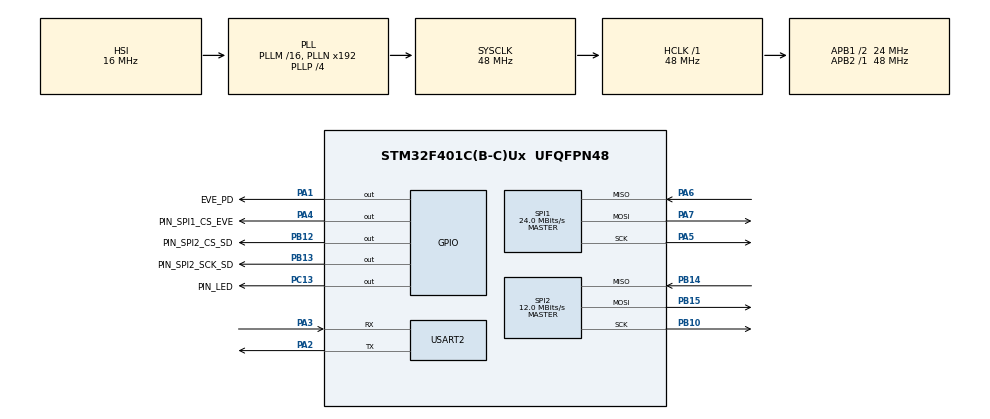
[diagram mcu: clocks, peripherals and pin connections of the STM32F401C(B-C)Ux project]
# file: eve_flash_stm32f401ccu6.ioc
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Mcu.Family=STM32F4
Mcu.Name=STM32F401C(B-C)Ux
Mcu.Package=UFQFPN48
NVIC.PriorityGroup=NVIC_PRIORITYGROUP_4
PA1.GPIO_Label=EVE_PD
PA1.Signal=GPIO_Output
PA11.Signal=USB_OTG_FS_DM
PA12.Signal=USB_OTG_FS_DP
PA2.Mode=Asynchronous
PA2.Signal=USART2_TX
PA3.Mode=Asynchronous
PA3.Signal=USART2_RX
PA4.GPIO_Label=PIN_SPI1_CS_EVE
PA4.Signal=GPIO_Output
PA5.Mode=Full_Duplex_Master
PA5.Signal=SPI1_SCK
PA6.Mode=Full_Duplex_Master
PA6.Signal=SPI1_MISO
PA7.Mode=Full_Duplex_Master
PA7.Signal=SPI1_MOSI
PA8.Signal=USB_OTG_FS_SOF
PB10.Mode=Full_Duplex_Master
PB10.Signal=SPI2_SCK
PB12.GPIO_Label=PIN_SPI2_CS_SD
PB12.Signal=GPIO_Output
PB13.GPIO_Label=PIN_SPI2_SCK_SD
PB13.Signal=GPIO_Output
PB14.Mode=Full_Duplex_Master
PB14.Signal=SPI2_MISO
PB15.Mode=Full_Duplex_Master
PB15.Signal=SPI2_MOSI
PC13-ANTI_TAMP.GPIO_Label=PIN_LED
PC13-ANTI_TAMP.Signal=GPIO_Output
ProjectManager.HeapSize=0x200
ProjectManager.StackSize=0x400
ProjectManager.TargetToolchain=STM32CubeIDE
RCC.AHBFreq_Value=48000000
RCC.APB1CLKDivider=RCC_HCLK_DIV2
RCC.APB1Freq_Value=24000000
RCC.APB1TimFreq_Value=48000000
RCC.APB2Freq_Value=48000000
RCC.APB2TimFreq_Value=48000000
RCC.CortexFreq_Value=48000000
RCC.HCLKFreq_Value=48000000
RCC.HSE_VALUE=25000000
RCC.HSI_VALUE=16000000
RCC.LSE_VALUE=32768
RCC.PLLP=RCC_PLLP_DIV4
RCC.SYSCLKFreq_VALUE=48000000
RCC.SYSCLKSource=RCC_SYSCLKSOURCE_PLLCLK
RCC.VCOOutputFreq_Value=192000000
SPI1.BaudRatePrescaler=SPI_BAUDRATEPRESCALER_2
SPI1.CalculateBaudRate=24.0 MBits/s
SPI1.Direction=SPI_DIRECTION_2LINES
SPI1.Mode=SPI_MODE_MASTER
SPI1.VirtualType=VM_MASTER
SPI2.BaudRatePrescaler=SPI_BAUDRATEPRESCALER_2
SPI2.CalculateBaudRate=12.0 MBits/s
SPI2.Direction=SPI_DIRECTION_2LINES
SPI2.Mode=SPI_MODE_MASTER
SPI2.VirtualType=VM_MASTER
USART2.VirtualMode=VM_ASYNC
board=custom

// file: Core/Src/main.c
/* USER CODE BEGIN Header */
/**
  ******************************************************************************
  * @file           : main.c
  * @brief          : Main program body
  ******************************************************************************
  * @attention
  *
  * Copyright (c) 2024 STMicroelectronics.
  * All rights reserved.
  *
  * This software is licensed under terms that can be found in the LICENSE file
  * in the root directory of this software component.
  * If no LICENSE file comes with this software, it is provided AS-IS.
  *
  ******************************************************************************
  */
/* USER CODE END Header */
#include "main.h"

/* USER CODE BEGIN Includes */
#include "add_led.h"
#include "add_printf.h"
#include "add_sdcard.h"
#include "add_eve_example.h"
#include "common/tusb_common.h"
#include "tusb.h"
#include "common.h"

/* USER CODE END Includes */

SPI_HandleTypeDef hspi1;
SPI_HandleTypeDef hspi2;

UART_HandleTypeDef huart2;

void SystemClock_Config(void);
static void MX_GPIO_Init(void);
static void MX_SPI1_Init(void);
static void MX_SPI2_Init(void);
static void MX_USART2_UART_Init(void);
/* USER CODE BEGIN PFP */
static void tinyUSB_init(void);

//--------------------------------------------------------------------+
// Forward USB interrupt events to TinyUSB IRQ Handler
//--------------------------------------------------------------------+
void OTG_FS_IRQHandler(void) {
  tud_int_handler(0);
}

void OTG_HS_IRQHandler(void) {
  tud_int_handler(1);
}
/* USER CODE END PFP */

/* USER CODE BEGIN 0 */
#define main board_init
/* USER CODE END 0 */

int main(void)
{

  /* MCU Configuration--------------------------------------------------------*/

  /* Reset of all peripherals, Initializes the Flash interface and the Systick. */
  HAL_Init();

  /* Configure the system clock */
  SystemClock_Config();

  /* Initialize all configured peripherals */
  MX_GPIO_Init();
  MX_SPI1_Init();
  MX_SPI2_Init();
  MX_USART2_UART_Init();
  /* USER CODE BEGIN 2 */

  tinyUSB_init();

  led_init();
  sdcard_init();
  printf_init();
  eve_example_init();

  /* USER CODE END 2 */

  /* Infinite loop */
  /* USER CODE BEGIN WHILE */
  while (0)
  {
    /* USER CODE END WHILE */

  }
}

void SystemClock_Config(void)
{
  RCC_OscInitTypeDef RCC_OscInitStruct = {0};
  RCC_ClkInitTypeDef RCC_ClkInitStruct = {0};

  /** Configure the main internal regulator output voltage
  */
  __HAL_RCC_PWR_CLK_ENABLE();
  __HAL_PWR_VOLTAGESCALING_CONFIG(PWR_REGULATOR_VOLTAGE_SCALE2);

  /** Initializes the RCC Oscillators according to the specified parameters
  * in the RCC_OscInitTypeDef structure.
  */
  RCC_OscInitStruct.OscillatorType = RCC_OSCILLATORTYPE_HSI;
  RCC_OscInitStruct.HSIState = RCC_HSI_ON;
  RCC_OscInitStruct.HSICalibrationValue = RCC_HSICALIBRATION_DEFAULT;
  RCC_OscInitStruct.PLL.PLLState = RCC_PLL_ON;
  RCC_OscInitStruct.PLL.PLLSource = RCC_PLLSOURCE_HSI;
  RCC_OscInitStruct.PLL.PLLM = 16;
  RCC_OscInitStruct.PLL.PLLN = 192;
  RCC_OscInitStruct.PLL.PLLP = RCC_PLLP_DIV4;
  RCC_OscInitStruct.PLL.PLLQ = 4;
  if (HAL_RCC_OscConfig(&RCC_OscInitStruct) != HAL_OK)
  {
    Error_Handler();
  }

  /** Initializes the CPU, AHB and APB buses clocks
  */
  RCC_ClkInitStruct.ClockType = RCC_CLOCKTYPE_HCLK|RCC_CLOCKTYPE_SYSCLK
                              |RCC_CLOCKTYPE_PCLK1|RCC_CLOCKTYPE_PCLK2;
  RCC_ClkInitStruct.SYSCLKSource = RCC_SYSCLKSOURCE_PLLCLK;
  RCC_ClkInitStruct.AHBCLKDivider = RCC_SYSCLK_DIV1;
  RCC_ClkInitStruct.APB1CLKDivider = RCC_HCLK_DIV2;
  RCC_ClkInitStruct.APB2CLKDivider = RCC_HCLK_DIV1;

  if (HAL_RCC_ClockConfig(&RCC_ClkInitStruct, FLASH_LATENCY_1) != HAL_OK)
  {
    Error_Handler();
  }
}

static void MX_SPI1_Init(void)
{

  /* SPI1 parameter configuration*/
  hspi1.Instance = SPI1;
  hspi1.Init.Mode = SPI_MODE_MASTER;
  hspi1.Init.Direction = SPI_DIRECTION_2LINES;
  hspi1.Init.DataSize = SPI_DATASIZE_8BIT;
  hspi1.Init.CLKPolarity = SPI_POLARITY_LOW;
  hspi1.Init.CLKPhase = SPI_PHASE_1EDGE;
  hspi1.Init.NSS = SPI_NSS_SOFT;
  hspi1.Init.BaudRatePrescaler = SPI_BAUDRATEPRESCALER_2;
  hspi1.Init.FirstBit = SPI_FIRSTBIT_MSB;
  hspi1.Init.TIMode = SPI_TIMODE_DISABLE;
  hspi1.Init.CRCCalculation = SPI_CRCCALCULATION_DISABLE;
  hspi1.Init.CRCPolynomial = 10;
  if (HAL_SPI_Init(&hspi1) != HAL_OK)
  {
    Error_Handler();
  }

}

static void MX_SPI2_Init(void)
{

  /* SPI2 parameter configuration*/
  hspi2.Instance = SPI2;
  hspi2.Init.Mode = SPI_MODE_MASTER;
  hspi2.Init.Direction = SPI_DIRECTION_2LINES;
  hspi2.Init.DataSize = SPI_DATASIZE_8BIT;
  hspi2.Init.CLKPolarity = SPI_POLARITY_LOW;
  hspi2.Init.CLKPhase = SPI_PHASE_1EDGE;
  hspi2.Init.NSS = SPI_NSS_SOFT;
  hspi2.Init.BaudRatePrescaler = SPI_BAUDRATEPRESCALER_2;
  hspi2.Init.FirstBit = SPI_FIRSTBIT_MSB;
  hspi2.Init.TIMode = SPI_TIMODE_DISABLE;
  hspi2.Init.CRCCalculation = SPI_CRCCALCULATION_DISABLE;
  hspi2.Init.CRCPolynomial = 10;
  if (HAL_SPI_Init(&hspi2) != HAL_OK)
  {
    Error_Handler();
  }

}

static void MX_USART2_UART_Init(void)
{

  huart2.Instance = USART2;
  huart2.Init.BaudRate = 115200;
  huart2.Init.WordLength = UART_WORDLENGTH_8B;
  huart2.Init.StopBits = UART_STOPBITS_1;
  huart2.Init.Parity = UART_PARITY_NONE;
  huart2.Init.Mode = UART_MODE_TX_RX;
  huart2.Init.HwFlowCtl = UART_HWCONTROL_NONE;
  huart2.Init.OverSampling = UART_OVERSAMPLING_16;
  if (HAL_UART_Init(&huart2) != HAL_OK)
  {
    Error_Handler();
  }

}

static void MX_GPIO_Init(void)
{
  GPIO_InitTypeDef GPIO_InitStruct = {0};

  /* GPIO Ports Clock Enable */
  __HAL_RCC_GPIOC_CLK_ENABLE();
  __HAL_RCC_GPIOA_CLK_ENABLE();
  __HAL_RCC_GPIOB_CLK_ENABLE();

  /*Configure GPIO pin Output Level */
  HAL_GPIO_WritePin(PIN_LED_GPIO_Port, PIN_LED_Pin, GPIO_PIN_RESET);

  /*Configure GPIO pin Output Level */
  HAL_GPIO_WritePin(GPIOA, GPIO_PIN_1|PIN_SPI1_CS_EVE_Pin, GPIO_PIN_RESET);

  /*Configure GPIO pin Output Level */
  HAL_GPIO_WritePin(GPIOB, PIN_SPI2_CS_SD_Pin|PIN_SPI2_SCK_SD_Pin, GPIO_PIN_RESET);

  /*Configure GPIO pin : PIN_LED_Pin */
  GPIO_InitStruct.Pin = PIN_LED_Pin;
  GPIO_InitStruct.Mode = GPIO_MODE_OUTPUT_PP;
  GPIO_InitStruct.Pull = GPIO_NOPULL;
  GPIO_InitStruct.Speed = GPIO_SPEED_FREQ_LOW;
  HAL_GPIO_Init(PIN_LED_GPIO_Port, &GPIO_InitStruct);

  /*Configure GPIO pins : PA1 PIN_SPI1_CS_EVE_Pin */
  GPIO_InitStruct.Pin = GPIO_PIN_1|PIN_SPI1_CS_EVE_Pin;
  GPIO_InitStruct.Mode = GPIO_MODE_OUTPUT_PP;
  GPIO_InitStruct.Pull = GPIO_NOPULL;
  GPIO_InitStruct.Speed = GPIO_SPEED_FREQ_LOW;
  HAL_GPIO_Init(GPIOA, &GPIO_InitStruct);

  /*Configure GPIO pins : PIN_SPI2_CS_SD_Pin PIN_SPI2_SCK_SD_Pin */
  GPIO_InitStruct.Pin = PIN_SPI2_CS_SD_Pin|PIN_SPI2_SCK_SD_Pin;
  GPIO_InitStruct.Mode = GPIO_MODE_OUTPUT_PP;
  GPIO_InitStruct.Pull = GPIO_NOPULL;
  GPIO_InitStruct.Speed = GPIO_SPEED_FREQ_LOW;
  HAL_GPIO_Init(GPIOB, &GPIO_InitStruct);

}

/* USER CODE BEGIN 4 */

//--------------------------------------------------------------------+
// Board porting API
//--------------------------------------------------------------------+
#define false 0
#define bool uint8_t

// LED
#define LED_PORT              GPIOC
#define LED_PIN               GPIO_PIN_13
#define LED_STATE_ON          0

// Button
#define BUTTON_PORT           GPIOA
#define BUTTON_PIN            GPIO_PIN_0
#define BUTTON_STATE_ACTIVE   0

static inline void board_clock_init(void)
{
  RCC_ClkInitTypeDef RCC_ClkInitStruct;
  RCC_OscInitTypeDef RCC_OscInitStruct;

  /* Enable Power Control clock */
  __HAL_RCC_PWR_CLK_ENABLE();

  /* The voltage scaling allows optimizing the power consumption when the device is
     clocked below the maximum system frequency, to update the voltage scaling value
     regarding system frequency refer to product datasheet.  */
  __HAL_PWR_VOLTAGESCALING_CONFIG(PWR_REGULATOR_VOLTAGE_SCALE2);

  /* Enable HSE Oscillator and activate PLL with HSE as source */
  RCC_OscInitStruct.OscillatorType = RCC_OSCILLATORTYPE_HSI;
  RCC_OscInitStruct.HSEState = RCC_HSI_ON;
  RCC_OscInitStruct.PLL.PLLState = RCC_PLL_ON;
  RCC_OscInitStruct.PLL.PLLSource = RCC_PLLSOURCE_HSI;
  RCC_OscInitStruct.PLL.PLLM = HSE_VALUE/1000000;
  RCC_OscInitStruct.PLL.PLLN = 336;
  RCC_OscInitStruct.PLL.PLLP = RCC_PLLP_DIV4;
  RCC_OscInitStruct.PLL.PLLQ = 7;
  RCC_OscInitStruct.HSICalibrationValue = RCC_HSICALIBRATION_DEFAULT;
  HAL_RCC_OscConfig(&RCC_OscInitStruct);

  /* Select PLL as system clock source and configure the HCLK, PCLK1 and PCLK2
     clocks dividers */
  RCC_ClkInitStruct.ClockType = (RCC_CLOCKTYPE_SYSCLK | RCC_CLOCKTYPE_HCLK | RCC_CLOCKTYPE_PCLK1 | RCC_CLOCKTYPE_PCLK2);
  RCC_ClkInitStruct.SYSCLKSource = RCC_SYSCLKSOURCE_PLLCLK;
  RCC_ClkInitStruct.AHBCLKDivider = RCC_SYSCLK_DIV1;
  RCC_ClkInitStruct.APB1CLKDivider = RCC_HCLK_DIV2;
  RCC_ClkInitStruct.APB2CLKDivider = RCC_HCLK_DIV1;
  HAL_RCC_ClockConfig(&RCC_ClkInitStruct, FLASH_LATENCY_2);

  // Enable clocks for LED, Button, Uart
  __HAL_RCC_GPIOA_CLK_ENABLE();
  __HAL_RCC_GPIOC_CLK_ENABLE();
  //__HAL_RCC_USART2_CLK_ENABLE();
}

static inline void board_vbus_sense_init(void)
{
  // Blackpill doesn't use VBUS sense (B device) explicitly disable it
  USB_OTG_FS->GCCFG |= USB_OTG_GCCFG_NOVBUSSENS;
  USB_OTG_FS->GCCFG &= ~USB_OTG_GCCFG_VBUSBSEN;
  USB_OTG_FS->GCCFG &= ~USB_OTG_GCCFG_VBUSASEN;
}

static void tinyUSB_init(void) {
	  board_clock_init();
	  //HAL_RCC_ClockConfig();
	  //SystemCoreClockUpdate();
	#if CFG_TUSB_OS == OPT_OS_NONE
	  // 1ms tick timer
	  SysTick_Config(SystemCoreClock / 1000);
	#elif CFG_TUSB_OS == OPT_OS_FREERTOS
	  // Explicitly disable systick to prevent its ISR runs before scheduler start
	  SysTick->CTRL &= ~1U;

	  // If freeRTOS is used, IRQ priority is limit by max syscall ( smaller is higher )
	  NVIC_SetPriority(OTG_FS_IRQn, configLIBRARY_MAX_SYSCALL_INTERRUPT_PRIORITY );
	#endif

	  GPIO_InitTypeDef GPIO_InitStruct;

#if 0
	  // LED
	  GPIO_InitStruct.Pin = LED_PIN;
	  GPIO_InitStruct.Mode = GPIO_MODE_OUTPUT_PP;
	  GPIO_InitStruct.Pull = GPIO_PULLUP;
	  GPIO_InitStruct.Speed = GPIO_SPEED_FREQ_HIGH;
	  HAL_GPIO_Init(LED_PORT, &GPIO_InitStruct);

	  board_led_write(false);

	  // Button
	  GPIO_InitStruct.Pin = BUTTON_PIN;
	  GPIO_InitStruct.Mode = GPIO_MODE_INPUT;
	  GPIO_InitStruct.Pull = BUTTON_STATE_ACTIVE ? GPIO_PULLDOWN : GPIO_PULLUP;
	  GPIO_InitStruct.Speed = GPIO_SPEED_FREQ_HIGH;
	  HAL_GPIO_Init(BUTTON_PORT, &GPIO_InitStruct);
#endif

	#ifdef UART_DEV
	  // UART
	  GPIO_InitStruct.Pin = UART_TX_PIN | UART_RX_PIN;
	  GPIO_InitStruct.Mode = GPIO_MODE_AF_PP;
	  GPIO_InitStruct.Pull = GPIO_PULLUP;
	  GPIO_InitStruct.Speed = GPIO_SPEED_FREQ_HIGH;
	  GPIO_InitStruct.Alternate = UART_GPIO_AF;
	  HAL_GPIO_Init(UART_GPIO_PORT, &GPIO_InitStruct);

	  UartHandle = (UART_HandleTypeDef) {
	      .Instance        = UART_DEV,
	      .Init.BaudRate   = CFG_BOARD_UART_BAUDRATE,
	      .Init.WordLength = UART_WORDLENGTH_8B,
	      .Init.StopBits   = UART_STOPBITS_1,
	      .Init.Parity     = UART_PARITY_NONE,
	      .Init.HwFlowCtl  = UART_HWCONTROL_NONE,
	      .Init.Mode       = UART_MODE_TX_RX,
	      .Init.OverSampling = UART_OVERSAMPLING_16
	  };
	  HAL_UART_Init(&UartHandle);
	#endif

	#if BOARD_TUD_RHPORT == 0
	  /* Configure USB FS GPIOs */
	  __HAL_RCC_GPIOA_CLK_ENABLE();

	  /* Configure USB D+ D- Pins */
	  GPIO_InitStruct.Pin = GPIO_PIN_11 | GPIO_PIN_12;
	  GPIO_InitStruct.Speed = GPIO_SPEED_HIGH;
	  GPIO_InitStruct.Mode = GPIO_MODE_AF_PP;
	  GPIO_InitStruct.Pull = GPIO_NOPULL;
	  GPIO_InitStruct.Alternate = GPIO_AF10_OTG_FS;
	  HAL_GPIO_Init(GPIOA, &GPIO_InitStruct);

	  /* Configure VBUS Pin */
	  GPIO_InitStruct.Pin = GPIO_PIN_9;
	  GPIO_InitStruct.Mode = GPIO_MODE_INPUT;
	  GPIO_InitStruct.Pull = GPIO_NOPULL;
	  HAL_GPIO_Init(GPIOA, &GPIO_InitStruct);

	  /* ID Pin */
	  GPIO_InitStruct.Pin = GPIO_PIN_10;
	  GPIO_InitStruct.Mode = GPIO_MODE_AF_OD;
	  GPIO_InitStruct.Pull = GPIO_PULLUP;
	  GPIO_InitStruct.Speed = GPIO_SPEED_HIGH;
	  GPIO_InitStruct.Alternate = GPIO_AF10_OTG_FS;
	  HAL_GPIO_Init(GPIOA, &GPIO_InitStruct);

	  // Enable USB OTG clock
	  __HAL_RCC_USB_OTG_FS_CLK_ENABLE();
	#else
	  /* Configure USB HS GPIOs */
	  __HAL_RCC_GPIOB_CLK_ENABLE();

	  /* Configure USB D+ D- Pins */
	  GPIO_InitStruct.Pin = GPIO_PIN_14 | GPIO_PIN_15;
	  GPIO_InitStruct.Speed = GPIO_SPEED_HIGH;
	  GPIO_InitStruct.Mode = GPIO_MODE_AF_PP;
	  GPIO_InitStruct.Pull = GPIO_NOPULL;
	  GPIO_InitStruct.Alternate = GPIO_AF10_OTG_FS;// GPIO_AF12_OTG_HS_FS;
	  HAL_GPIO_Init(GPIOB, &GPIO_InitStruct);

	  /* Configure VBUS Pin */
	  GPIO_InitStruct.Pin = GPIO_PIN_13;
	  GPIO_InitStruct.Mode = GPIO_MODE_INPUT;
	  GPIO_InitStruct.Pull = GPIO_NOPULL;
	  HAL_GPIO_Init(GPIOB, &GPIO_InitStruct);

	  /* ID Pin */
	  GPIO_InitStruct.Pin = GPIO_PIN_12;
	  GPIO_InitStruct.Mode = GPIO_MODE_AF_OD;
	  GPIO_InitStruct.Pull = GPIO_PULLUP;
	  GPIO_InitStruct.Speed = GPIO_SPEED_HIGH;
	  GPIO_InitStruct.Alternate = GPIO_AF10_OTG_FS;// GPIO_AF12_OTG_HS_FS;
	  HAL_GPIO_Init(GPIOB, &GPIO_InitStruct);

	  // Enable USB OTG clock
	  __HAL_RCC_USB_OTG_FS_CLK_ENABLE();// HS_CLK_ENABLE();
	#endif

	 board_vbus_sense_init();
}

void board_led_write(bool state) {
  GPIO_PinState pin_state = (GPIO_PinState) (state ? LED_STATE_ON : (1 - LED_STATE_ON));
  HAL_GPIO_WritePin(LED_PORT, LED_PIN, pin_state);
}

uint32_t board_button_read(void) {
  return BUTTON_STATE_ACTIVE == HAL_GPIO_ReadPin(BUTTON_PORT, BUTTON_PIN);
}

size_t board_get_unique_id(uint8_t id[], size_t max_len) {
  (void) max_len;
  volatile uint32_t *stm32_uuid = (volatile uint32_t *) UID_BASE;
  uint32_t *id32 = (uint32_t *) (uintptr_t) id;
  uint8_t const len = 12;

  id32[0] = stm32_uuid[0];
  id32[1] = stm32_uuid[1];
  id32[2] = stm32_uuid[2];

  return len;
}

int board_uart_read(uint8_t *buf, int len) {
  (void) buf;
  (void) len;
  return 0;
}

UART_HandleTypeDef UartHandle;

int board_uart_write(void const *buf, int len) {
#ifdef UART_DEV
  HAL_UART_Transmit(&UartHandle, (uint8_t *) (uintptr_t) buf, len, 0xffff);
  return len;
#else
  (void) buf; (void) len; (void) UartHandle;
  return 0;
#endif
}

#if CFG_TUSB_OS == OPT_OS_NONE
volatile uint32_t system_ticks = 0;

void SysTick_Handler(void) {
  HAL_IncTick();
  system_ticks++;
}

uint32_t board_millis(void) {
  return system_ticks;
}

#endif

void HardFault_Handler(void) {
  __asm("BKPT #0\n");
}

// Required by __libc_init_array in startup code if we are compiling using
// -nostdlib/-nostartfiles.
void _init2(void) {
}

/* USER CODE END 4 */

void Error_Handler(void)
{
  __disable_irq();
  while (1)
  {
  }
}
